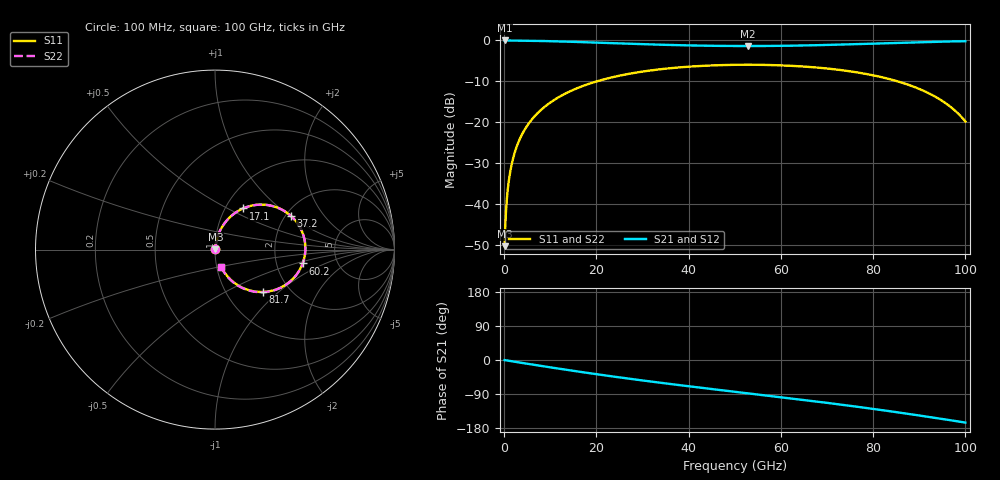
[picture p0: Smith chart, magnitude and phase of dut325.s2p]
! Touchstone file exported from HFSS 2026.1.0
!  File:  C:/ffzhzh/LocalFiles/Ansys_Project_Files/temp_train_RDL_325_1783502778_31944.aedt
!  Generated:  05:27:42 PM Jul  8, 2026
!  Design:  RDL
!  Project:  temp_train_RDL_325_1783502778_31944
! Variables:
!  h_bsmrdl = 2um
!  h_ox = 20um
!  h_rdl = 5um
!  h_sub = 80um
!  h_tmrdl = 4.13um
!  h_tsv = 80um
!  h_via = 3um
!  l_bsmrdl = 300um
!  l_sub = 957.07um
!  l_tmrdl = 557.07um
!  m_sub = 200um
!  pitch = 46.93um
!  r_tsv = 6um
!  s_tmrdl = 10um
!  w_bsmrdl = 18um
!  w_sub = 500um
!  w_tmrdl = 23.33um
!  x_tsv_center1 = 568.735um
!  x_tsv_center2 = 886.735um
!  x_tsv_center3 = 1467.135um
!  x_tsv_center4 = 1785.135um
!  x_tsv_center5 = 2365.535um
!  x_tsv_center6 = 2683.535um
# GHz S MA R 50.000000
! Terminal data exported
! Port[1] = TM_RDL1_1_T1
! Port[2] = TM_RDL1_1_T2
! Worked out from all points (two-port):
!   1000 points, 100 MHz to 100 GHz, reference 50 ohm
!   highest |S21| = -0.02 dB at 100 MHz (marker M1); lowest = -1.4 dB at 52.8 GHz (marker M2)
!   |S21| within 3 dB of the highest: start of sweep to end of sweep
!   lowest |S11| = -50.3 dB at 100 MHz (marker M3), VSWR 1.01, Z = 50.2 + j0.207 ohm
!   |S11| at or under -10 dB: start of sweep to 20.15 GHz; 85.26 GHz to end of sweep
!   |S22| runs from -50.3 to -6.0 dB; largest |S21 - S12| = 1.8e-14
!   S11 on the Smith chart (normalised r, x): 100 MHz: 1.00, +0.00; 17.1 GHz: 1.21, +0.60; 37.2 GHz: 2.14, +1.02; 60.2 GHz: 2.82, -0.58; 81.7 GHz: 1.47, -0.80; 100 GHz: 1.05, -0.20
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0.1  0.00305 42.5  0.9978 -0.2  0.9978 -0.2  0.00305 42.5
! Gamma 0 0 0 0
! Port Impedance 50 0 50 0
0.8  0.01532 77.8  0.9971 -1.6  0.9971 -1.6  0.01532 77.7
1.4  0.02623 80.5  0.9966 -2.8  0.9966 -2.8  0.02623 80.5
2.5  0.04624 80.6  0.9954 -5.0  0.9954 -5.0  0.04624 80.6
4  0.07309 78.6  0.9929 -7.9  0.9929 -7.9  0.07309 78.6
6.1  0.1095 75.0  0.9883 -12.0  0.9883 -12.0  0.1095 75.0
8.9  0.156 70.1  0.9807 -17.3  0.9807 -17.3  0.156 70.1
12.5  0.2123 63.7  0.9689 -24.0  0.9689 -24.0  0.2123 63.7
16.8  0.2735 56.3  0.9525 -31.8  0.9525 -31.8  0.2735 56.2
17.1  0.2775 55.7  0.9513 -32.3  0.9513 -32.3  0.2775 55.7
24.4  0.364 43.6  0.921 -44.9  0.921 -44.9  0.364 43.5
33.4  0.4406 29.5  0.8868 -59.3  0.8868 -59.3  0.4406 29.4
37.2  0.4634 23.8  0.8752 -65.1  0.8752 -65.1  0.4634 23.7
50.1  0.5026 5.3  0.8535 -83.9  0.8535 -83.9  0.5026 5.1
52.8  0.5037 1.5  0.8528 -87.8  0.8528 -87.8  0.5038 1.3
60.2  0.4944 -9.0  0.8579 -98.5  0.8579 -98.5  0.4945 -9.2
66.7  0.4709 -18.4  0.8704 -108.1  0.8704 -108.1  0.471 -18.6
81.7  0.3566 -41.4  0.9202 -131.9  0.9202 -131.9  0.3566 -41.7
83.4  0.338 -44.2  0.9268 -134.8  0.9268 -134.8  0.338 -44.5
93.1  0.2104 -60.2  0.9609 -152.1  0.9609 -152.1  0.2105 -60.7
96.7  0.1552 -65.8  0.9703 -158.9  0.9703 -158.9  0.1552 -66.4
100  0.102 -69.9  0.9764 -165.1  0.9764 -165.1  0.1019 -70.8
